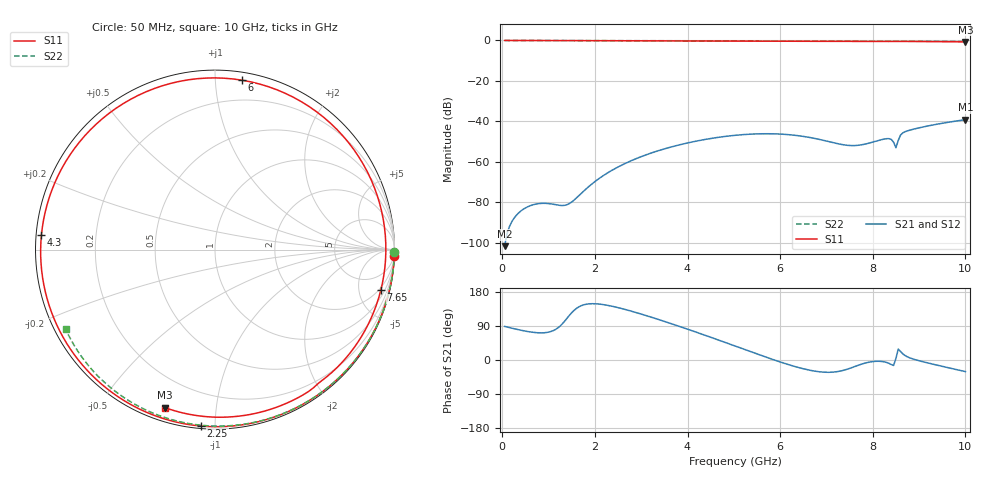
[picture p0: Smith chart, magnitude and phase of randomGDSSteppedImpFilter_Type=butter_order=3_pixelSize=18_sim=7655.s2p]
! freq	dB(S11)	phase(S11)	dB(S12)	phase(S12)
!  dB(S21)	phase(S21)	dB(S22)	phase(S22)
!S-par simulation data
#  GHz  S  DB  R 50
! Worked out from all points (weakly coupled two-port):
!   200 points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, 50 MHz to 10 GHz, reference 50 ohm
!   highest |S21| = -39.14 dB at 10 GHz (marker M1); lowest = -101.6 dB at 50 MHz (marker M2)
!   lowest |S11| = -0.7 dB at 10 GHz (marker M3), VSWR 25.13, Z = 3.05 - j36.5 ohm
!   |S11| at or under -10 dB: nowhere
!   |S22| runs from -0.5 to 0.0 dB; largest |S21 - S12| = 0
!   S11 on the Smith chart (normalised r, x): 50 MHz: 0, -53; 2.25 GHz: 0.01, -0.92; 4.3 GHz: 0.02, +0.04; 6 GHz: 0.05, +1.17; 7.65 GHz: 1.68, -7.94; 10 GHz: 0.06, -0.73
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0.05  -0.00 -2.2  -101.61 88.7  -101.61 88.7  -0.00 -0.9
0.7  -0.04 -29.8  -80.95 72.5  -80.95 72.5  -0.02 -12.3
1.45  -0.08 -61.3  -80.54 118.0  -80.54 118.0  -0.03 -25.2
1.75  -0.09 -73.8  -74.58 145.2  -74.58 145.2  -0.04 -30.4
2.25  -0.12 -94.6  -65.74 144.8  -65.74 144.8  -0.05 -38.8
2.8  -0.15 -117.6  -59.24 128.4  -59.24 128.4  -0.06 -47.9
3.4  -0.19 -143.3  -54.24 105.9  -54.24 105.9  -0.08 -57.6
3.85  -0.22 -163.6  -51.42 87.6  -51.42 87.6  -0.09 -64.7
4.3  -0.26 175.1  -49.22 68.7  -49.22 68.7  -0.10 -71.7
5.05  -0.33 136.2  -46.80 35.9  -46.80 35.9  -0.13 -83.1
5.55  -0.37 107.7  -46.11 13.9  -46.11 13.9  -0.15 -90.4
6  -0.39 80.8  -46.24 -5.1  -46.24 -5.1  -0.17 -96.9
6.7  -0.41 38.7  -48.18 -28.4  -48.18 -28.4  -0.21 -106.8
7.15  -0.42 12.8  -50.50 -31.9  -50.50 -31.9  -0.24 -113.1
7.65  -0.44 -13.8  -51.86 -15.5  -51.86 -15.5  -0.27 -119.9
8.35  -0.50 -46.4  -48.51 -8.8  -48.51 -8.8  -0.33 -129.4
8.45  -0.52 -50.6  -50.29 -14.4  -50.29 -14.4  -0.34 -130.7
8.5  -0.52 -52.5  -52.98 4.1  -52.98 4.1  -0.34 -131.4
8.6  -0.47 -56.7  -46.70 22.7  -46.70 22.7  -0.35 -132.8
8.7  -0.48 -60.9  -45.06 11.6  -45.06 11.6  -0.36 -134.2
9.3  -0.57 -83.7  -41.73 -11.0  -41.73 -11.0  -0.43 -142.3
10  -0.69 -107.6  -39.14 -30.6  -39.14 -30.6  -0.51 -151.9
